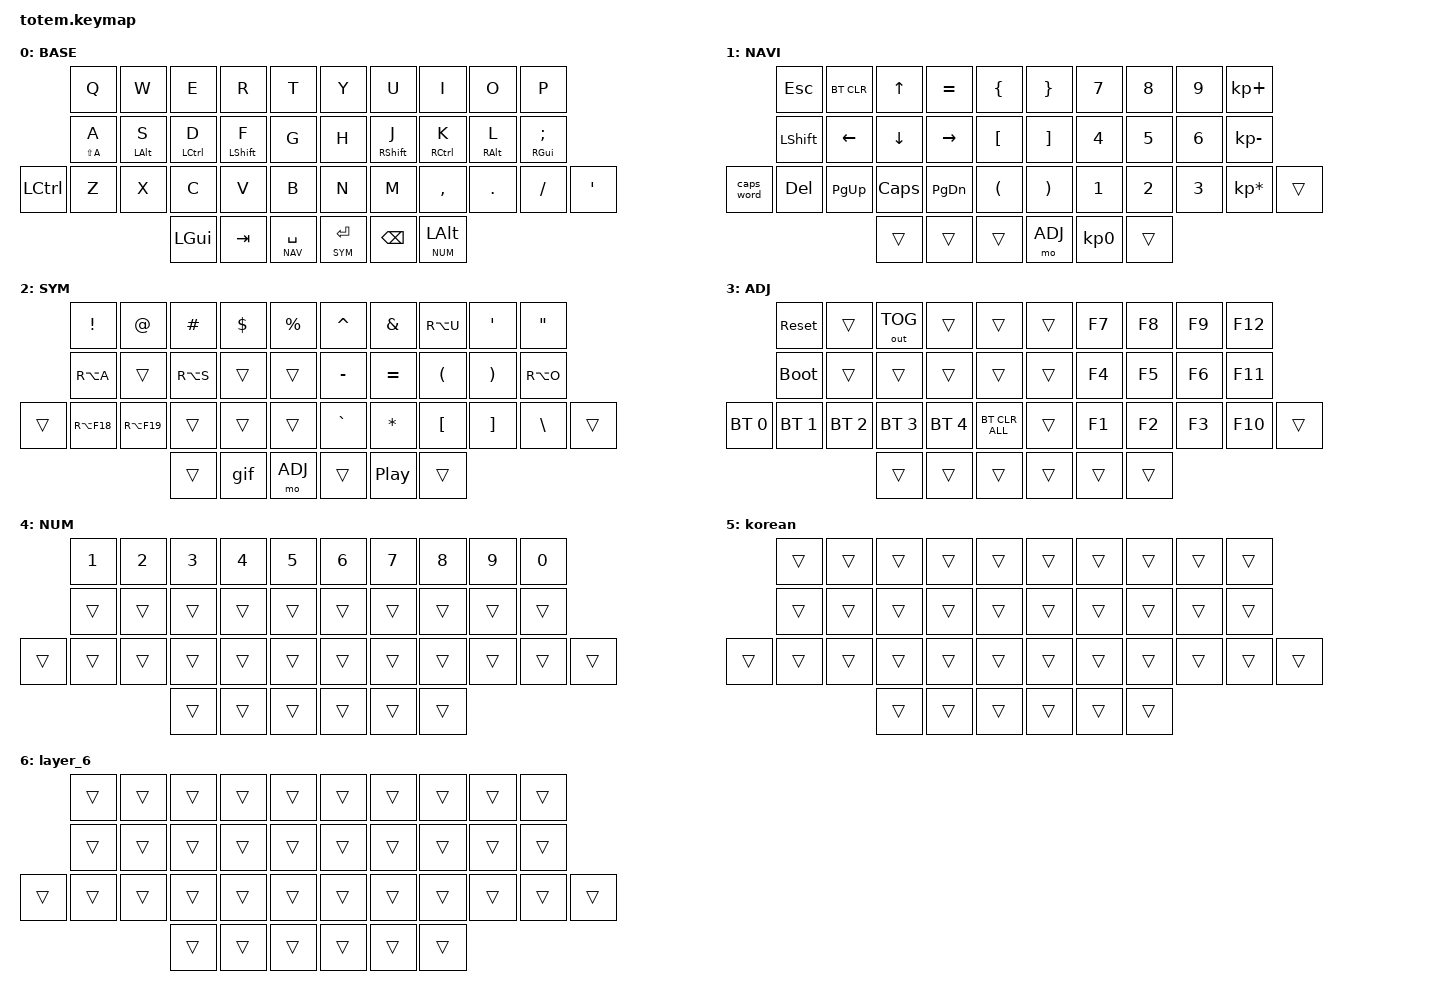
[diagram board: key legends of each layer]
//
//                                                        ▀▀▀▀▀     ▀▀▀▀▀          ▀▀█▀▀
//                                                        ▄▀▀▀▄  ▄  ▄▀▀▀▄  ▄  ▄▀▀▀▄  █  ▄▀▀▀▄
//                                                        █   █  █  █   █  █  █   █  █  █   █
//                                                         ▀▀▀   █   ▀▀▀   █   ▀▀▀   ▀   ▀▀▀
//                                                               █      ▄▄▄█▄▄▄    █   █  
//                                                               ▀      █  █  █     █▄█
//                                                             ▀▀▀▀▀    █  █  █      ▀
//                                                                      ▀  ▀  ▀
//
// ▄▄▄▄▄▄▄▄▄▄▄▄▄▄▄▄▄▄▄▄▄▄▄▄▄▄▄▄▄▄▄▄▄▄▄▄▄▄▄▄▄▄▄▄▄▄▄▄▄▄▄▄▄▄▄▄▄▄▄▄▄▄▄▄▄▄▄▄▄▄▄▄▄▄▄▄▄▄▄▄▄▄▄▄▄▄▄▄▄▄▄▄▄▄▄▄▄▄▄▄▄▄▄▄▄▄▄▄▄▄▄▄▄▄▄▄▄▄▄▄▄▄▄▄▄▄▄▄▄▄▄▄▄▄▄▄▄▄▄▄▄▄▄▄▄▄▄▄▄

#include <behaviors.dtsi>
#include <dt-bindings/zmk/bt.h>
#include <dt-bindings/zmk/keys.h>
#include <dt-bindings/zmk/outputs.h>

#define BASE 0
#define NAV  1
#define SYM  2
#define ADJ  3
#define NUM  4

&mt {
    quick-tap-ms = <100>;
    global-quick-tap;
    flavor = "tap-preferred";
    tapping-term-ms = <170>;
};

/ {
    combos {
        compatible = "zmk,combos";

        combo_esc {
            timeout-ms = <50>;
            key-positions = <0 1>;
            bindings = <&kp ESC>;
        };

        PROFILE-CHANGE {
            bindings = <&tog 5>;
            key-positions = <0 1 2>;
        };
    };

    macros {
        gif: gif {
            label = "giphy";
            compatible = "zmk,behavior-macro";
            #binding-cells = <0>;
            bindings =
                <&macro_press>,
                <&kp LSHFT>,
                <&macro_tap>,
                <&kp N2>,
                <&macro_release>,
                <&kp LSHFT>,
                <&macro_tap>,
                <&kp G &kp I &kp F>;
        };
    };

    keymap {
        compatible = "zmk,keymap";

        // ▄▄▄▄▄▄▄▄▄▄▄▄▄▄▄▄▄▄▄▄▄▄▄▄▄▄▄▄▄▄▄▄▄▄▄▄▄▄▄▄▄▄▄▄▄▄▄▄▄▄▄▄▄▄▄▄▄▄▄▄▄▄▄▄▄▄▄▄▄▄▄▄▄▄▄▄▄▄▄▄▄▄▄▄▄▄▄▄▄▄▄▄▄▄▄▄▄▄▄▄▄▄▄▄▄▄▄▄▄▄▄▄▄▄▄▄▄▄▄▄▄▄▄▄▄▄▄▄▄▄▄▄▄▄▄▄▄▄▄▄▄▄▄▄▄▄▄▄▄

        base_layer {
            label = "BASE";
            bindings = <
                  &kp Q        &kp W       &kp E         &kp R        &kp T            &kp Y        &kp U        &kp I             &kp O       &kp P
                  &mt LS(A) A  &mt LALT S  &mt LCTRL D   &mt LSHFT F  &kp G            &kp H        &mt RSHFT J  &mt RCTRL K       &mt RALT L  &mt RGUI SEMI
&kp LEFT_CONTROL  &kp Z        &kp X       &kp C         &kp V        &kp B            &kp N        &kp M        &kp COMMA         &kp DOT     &kp SLASH      &kp APOS
                                           &kp LEFT_GUI  &kp TAB      &lt NAV SPACE    &lt SYM RET  &kp BSPC     &lt NUM LEFT_ALT
            >;
        };

        // ▄▄▄▄▄▄▄▄▄▄▄▄▄▄▄▄▄▄▄▄▄▄▄▄▄▄▄▄▄▄▄▄▄▄▄▄▄▄▄▄▄▄▄▄▄▄▄▄▄▄▄▄▄▄▄▄▄▄▄▄▄▄▄▄▄▄▄▄▄▄▄▄▄▄▄▄▄▄▄▄▄▄▄▄▄▄▄▄▄▄▄▄▄▄▄▄▄▄▄▄▄▄▄▄▄▄▄▄▄▄▄▄▄▄▄▄▄▄▄▄▄▄▄▄▄▄▄▄▄▄▄▄▄▄▄▄▄▄▄▄▄▄▄▄▄▄▄▄▄

        nav_layer {
            label = "NAVI";
            bindings = <
            &kp ESC    &bt BT_CLR  &kp UP    &kp EQUAL  &kp LBRC    &kp RBRC  &kp N7        &kp N8        &kp N9        &kp KP_PLUS
            &kp LSHFT  &kp LEFT    &kp DOWN  &kp RIGHT  &kp LBKT    &kp RBKT  &kp NUMBER_4  &kp N5        &kp NUMBER_6  &kp KP_MINUS
&caps_word  &kp DEL    &kp PG_UP   &kp CAPS  &kp PG_DN  &kp LPAR    &kp RPAR  &kp NUMBER_1  &kp NUMBER_2  &kp NUMBER_3  &kp KP_MULTIPLY  &trans
                                   &trans    &trans     &trans      &mo ADJ   &kp KP_N0     &trans
            >;
        };

        // ▄▄▄▄▄▄▄▄▄▄▄▄▄▄▄▄▄▄▄▄▄▄▄▄▄▄▄▄▄▄▄▄▄▄▄▄▄▄▄▄▄▄▄▄▄▄▄▄▄▄▄▄▄▄▄▄▄▄▄▄▄▄▄▄▄▄▄▄▄▄▄▄▄▄▄▄▄▄▄▄▄▄▄▄▄▄▄▄▄▄▄▄▄▄▄▄▄▄▄▄▄▄▄▄▄▄▄▄▄▄▄▄▄▄▄▄▄▄▄▄▄▄▄▄▄▄▄▄▄▄▄▄▄▄▄▄▄▄▄▄▄▄▄▄▄▄▄▄▄

        sim_layer {
            label = "SYM";
            bindings = <
        &kp EXCL     &kp AT       &kp HASH   &kp DLLR  &kp PRCNT    &kp CARET  &kp AMPS      &kp RA(U)             &kp SQT                &kp DQT
        &kp RA(A)    &trans       &kp RA(S)  &trans    &trans       &kp MINUS  &kp EQUAL     &kp LEFT_PARENTHESIS  &kp RIGHT_PARENTHESIS  &kp RA(O)
&trans  &kp RA(F18)  &kp RA(F19)  &trans     &trans    &trans       &kp GRAVE  &kp ASTERISK  &kp LEFT_BRACKET      &kp RIGHT_BRACKET      &kp BSLH   &trans
                                  &trans     &gif      &mo ADJ      &trans     &kp C_PP      &trans
            >;
        };

        // ▄▄▄▄▄▄▄▄▄▄▄▄▄▄▄▄▄▄▄▄▄▄▄▄▄▄▄▄▄▄▄▄▄▄▄▄▄▄▄▄▄▄▄▄▄▄▄▄▄▄▄▄▄▄▄▄▄▄▄▄▄▄▄▄▄▄▄▄▄▄▄▄▄▄▄▄▄▄▄▄▄▄▄▄▄▄▄▄▄▄▄▄▄▄▄▄▄▄▄▄▄▄▄▄▄▄▄▄▄▄▄▄▄▄▄▄▄▄▄▄▄▄▄▄▄▄▄▄▄▄▄▄▄▄▄▄▄▄▄▄▄▄▄▄▄▄▄▄▄

        adjust_layer {
            label = "ADJ";
            bindings = <
              &sys_reset    &trans        &out OUT_TOG  &trans        &trans            &trans  &kp F7  &kp F8  &kp F9  &kp F12
              &bootloader   &trans        &trans        &trans        &trans            &trans  &kp F4  &kp F5  &kp F6  &kp F11
&bt BT_SEL 0  &bt BT_SEL 1  &bt BT_SEL 2  &bt BT_SEL 3  &bt BT_SEL 4  &bt BT_CLR_ALL    &trans  &kp F1  &kp F2  &kp F3  &kp F10  &trans
                                          &trans        &trans        &trans            &trans  &trans  &trans
            >;
        };

        // ▄▄▄▄▄▄▄▄▄▄▄▄▄▄▄▄▄▄▄▄▄▄▄▄▄▄▄▄▄▄▄▄▄▄▄▄▄▄▄▄▄▄▄▄▄▄▄▄▄▄▄▄▄▄▄▄▄▄▄▄▄▄▄▄▄▄▄▄▄▄▄▄▄▄▄▄▄▄▄▄▄▄▄▄▄▄▄▄▄▄▄▄▄▄▄▄▄▄▄▄▄▄▄▄▄▄▄▄▄▄▄▄▄▄▄▄▄▄▄▄▄▄▄▄▄▄▄▄▄▄▄▄▄▄▄▄▄▄▄▄▄▄▄▄▄▄▄▄▄

        num_layer {
            label = "NUM";
            bindings = <
        &kp N1  &kp N2  &kp N3  &kp N4  &kp N5    &kp N6  &kp N7  &kp N8  &kp N9  &kp N0
        &trans  &trans  &trans  &trans  &trans    &trans  &trans  &trans  &trans  &trans
&trans  &trans  &trans  &trans  &trans  &trans    &trans  &trans  &trans  &trans  &trans  &trans
                        &trans  &trans  &trans    &trans  &trans  &trans
            >;
        };

        korean {
            bindings = <
        &trans  &trans  &trans  &trans  &trans    &trans  &trans  &trans  &trans  &trans
        &trans  &trans  &trans  &trans  &trans    &trans  &trans  &trans  &trans  &trans
&trans  &trans  &trans  &trans  &trans  &trans    &trans  &trans  &trans  &trans  &trans  &trans
                        &trans  &trans  &trans    &trans  &trans  &trans
            >;
        };

        layer_6 {
            bindings = <
        &trans  &trans  &trans  &trans  &trans    &trans  &trans  &trans  &trans  &trans
        &trans  &trans  &trans  &trans  &trans    &trans  &trans  &trans  &trans  &trans
&trans  &trans  &trans  &trans  &trans  &trans    &trans  &trans  &trans  &trans  &trans  &trans
                        &trans  &trans  &trans    &trans  &trans  &trans
            >;
        };
    };

    conditional_layers {
        compatible = "zmk,conditional-layers";

        NAV1 {
            if-layers = <1>;
            then-layer = <5>;
        };

        korean-2 {
            if-layers = <5>;
            then-layer = <6>;
        };
    };
};
